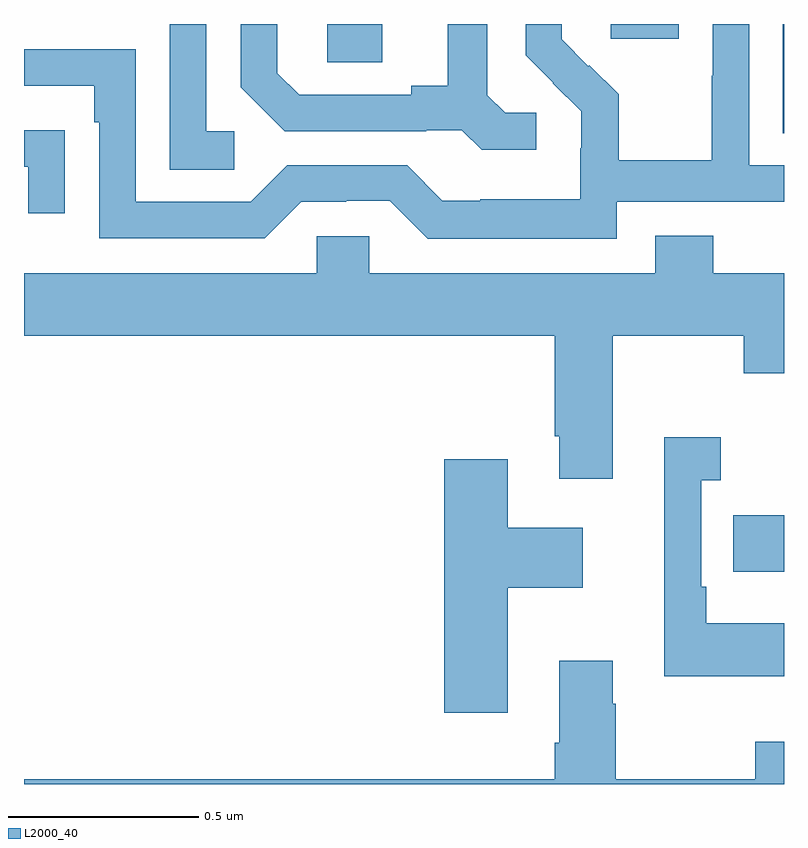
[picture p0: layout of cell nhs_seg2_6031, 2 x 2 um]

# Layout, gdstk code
import gdstk
lib = gdstk.Library(unit=1e-6, precision=1e-09)
def R(c, l, rs):  # rectangles x0, y0, x1, y1
    for r in rs: c.add(gdstk.rectangle(r[:2], r[2:], *l))
def P(c, l, *ps):  # polygons
    for p in ps: c.add(gdstk.Polygon(p, *l))
L2000_40 = (2000, 40)

nhs_seg2_6031 = lib.new_cell('nhs_seg2_6031')
R(nhs_seg2_6031, L2000_40, [(187.867,636.359,188,636.507), (187.997,637.513,188,637.8), (186.798,637.699,186.943,637.8), (187.544,637.761,187.723,637.8)])
P(nhs_seg2_6031, L2000_40, [(187.348,637.566),(187.266,637.566),(187.219,637.613),(187.219,637.8),(187.115,637.8),(187.115,637.637),(187.019,637.637),(187.019,637.614),(186.724,637.614),(186.667,637.671),(186.667,637.8),(186.57,637.8),(186.57,637.634),(186.686,637.518),(187.058,637.518),(187.058,637.521),(187.152,637.521),(187.204,637.469),(187.348,637.469)],
  [(186.553,637.518),(186.48,637.518),(186.48,637.8),(186.384,637.8),(186.384,637.417),(186.553,637.417)],
  [(187.56,637.332),(188,637.332),(188,637.428),(187.908,637.428),(187.908,637.8),(187.812,637.8),(187.812,637.664),(187.81,637.664),(187.81,637.441),(187.565,637.441),(187.565,637.615),(187.488,637.692),(187.485,637.689),(187.415,637.76),(187.415,637.8),(187.32,637.8),(187.32,637.718),(187.393,637.645),(187.392,637.644),(187.466,637.57),(187.466,637.473),(187.464,637.473),(187.464,637.339),(187.201,637.339),(187.201,637.335),(187.101,637.335),(187.008,637.428),(186.693,637.428),(186.597,637.332),(186.294,637.332),(186.294,637.734),(186,637.734),(186,637.638),(186.185,637.638),(186.185,637.541),(186.198,637.541),(186.198,637.236),(186.633,637.236),(186.729,637.332),(186.848,637.332),(186.848,637.335),(186.963,637.335),(187.063,637.235),(187.56,637.235)],
  [(186.107,637.52),(186.005,637.52),(186.005,637.521),(186,637.521),(186,637.425),(186.011,637.425),(186.011,637.302),(186.107,637.302)],
  [(187.549,636.98),(187.894,636.98),(187.894,636.881),(188,636.881),(188,637.144),(187.814,637.144),(187.814,637.243),(187.661,637.243),(187.661,637.144),(186.909,637.144),(186.909,637.242),(186.771,637.242),(186.771,637.144),(186,637.144),(186,636.98),(187.397,636.98),(187.397,636.715),(187.409,636.715),(187.409,636.603),(187.549,636.603)],
  [(188,636.223),(187.795,636.223),(187.795,636.319),(187.782,636.319),(187.782,636.599),(187.834,636.599),(187.834,636.712),(187.685,636.712),(187.685,636.083),(188,636.083)],
  [(187.273,636.317),(187.471,636.317),(187.471,636.475),(187.273,636.475),(187.273,636.655),(187.106,636.655),(187.106,635.988),(187.273,635.988)],
  [(188,635.911),(187.924,635.911),(187.924,635.812),(187.557,635.812),(187.557,636.011),(187.549,636.011),(187.549,636.124),(187.409,636.124),(187.409,635.908),(187.397,635.908),(187.397,635.812),(186,635.812),(186,635.8),(188,635.8)])

lib.write_gds('nhs_seg2_6031.gds')
